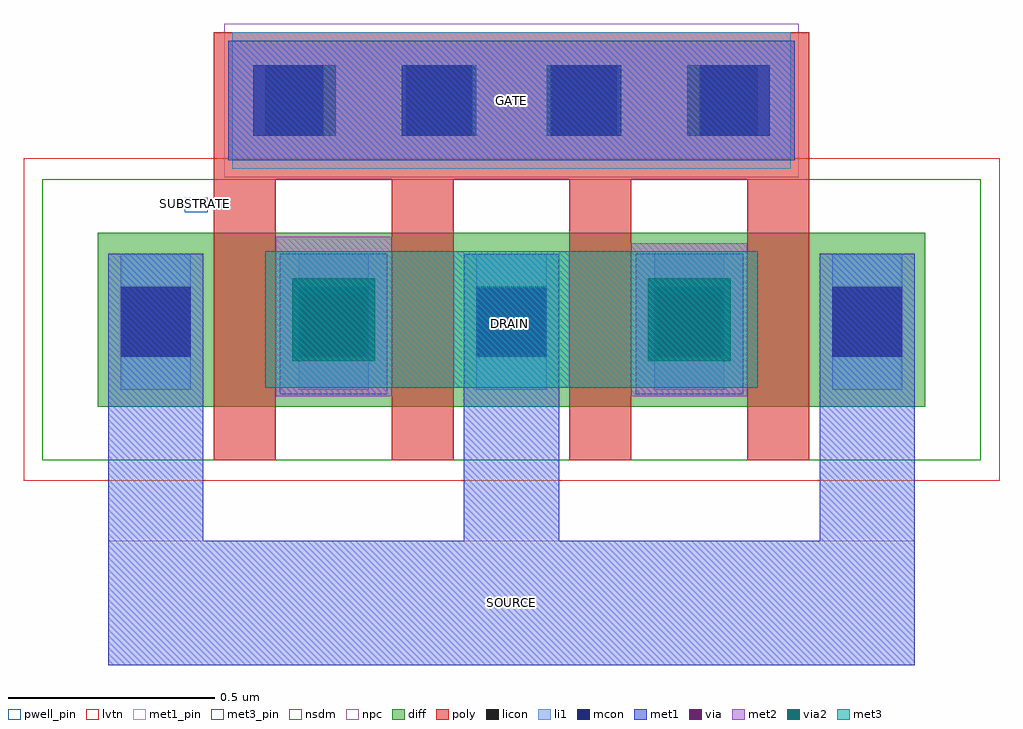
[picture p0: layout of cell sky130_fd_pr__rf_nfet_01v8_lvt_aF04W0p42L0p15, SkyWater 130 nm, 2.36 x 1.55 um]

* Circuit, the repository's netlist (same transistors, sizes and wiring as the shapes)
* Copyright 2020 The SkyWater PDK Authors
*
* Licensed under the Apache License, Version 2.0 (the "License");
* you may not use this file except in compliance with the License.
* You may obtain a copy of the License at
*
*     https://www.apache.org/licenses/LICENSE-2.0
*
* Unless required by applicable law or agreed to in writing, software
* distributed under the License is distributed on an "AS IS" BASIS,
* WITHOUT WARRANTIES OR CONDITIONS OF ANY KIND, either express or implied.
* See the License for the specific language governing permissions and
* limitations under the License.
*
* SPDX-License-Identifier: Apache-2.0


.subckt sky130_fd_pr__rf_nfet_01v8_lvt_aF04W0p42L0p15 DRAIN GATE SOURCE SUBSTRATE
X0 SOURCE GATE DRAIN SUBSTRATE sky130_fd_pr__nfet_01v8_lvt w=420000u l=150000u
X1 DRAIN GATE SOURCE SUBSTRATE sky130_fd_pr__nfet_01v8_lvt w=420000u l=150000u
X2 DRAIN GATE SOURCE SUBSTRATE sky130_fd_pr__nfet_01v8_lvt w=420000u l=150000u
X3 SOURCE GATE DRAIN SUBSTRATE sky130_fd_pr__nfet_01v8_lvt w=420000u l=150000u
.ends

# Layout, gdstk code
import gdstk
lib = gdstk.Library(unit=1e-6, precision=1e-09)
def R(c, l, rs):  # rectangles x0, y0, x1, y1
    for r in rs: c.add(gdstk.rectangle(r[:2], r[2:], *l))
def A(c, l, x, y, w, h, nx, ny, dx, dy):  # array of equal rectangles
    R(c, l, [(x+i*dx, y+j*dy, x+i*dx+w, y+j*dy+h) for i in range(nx) for j in range(ny)])
diff = (65, 20)
poly = (66, 20)
licon = (66, 44)
li1 = (67, 20)
mcon = (67, 44)
met1_pin = (68, 16)
met1 = (68, 20)
via = (68, 44)
met2 = (69, 20)
via2 = (69, 44)
met3_pin = (70, 16)
met3 = (70, 20)
nsdm = (93, 44)
npc = (95, 20)
pwell_pin = (122, 16)
lvtn = (125, 44)

sky130_fd_pr__rf_nfet_01 = lib.new_cell('sky130_fd_pr__rf_nfet_01v8_lvt_aF04W0p42L0p15')
A(sky130_fd_pr__rf_nfet_01, diff, 0.18, 0.18, 0.28, 0.42, 3, 1, 0.43, 0)
A(sky130_fd_pr__rf_nfet_01, diff, 0.21, 0.18, 0.25, 0.42, 3, 1, 0.86, 0)
A(sky130_fd_pr__rf_nfet_01, diff, 0.46, 0.18, 0.15, 0.42, 4, 1, 0.43, 0)
A(sky130_fd_pr__rf_nfet_01, diff, 1.04, 0.18, 0.28, 0.42, 3, 1, 0.43, 0)
R(sky130_fd_pr__rf_nfet_01, diff, [(1.9,0.18,2.18,0.6)])
A(sky130_fd_pr__rf_nfet_01, poly, 0.46, 0.05, 0.15, 0.13, 4, 2, 0.43, 0.55)
A(sky130_fd_pr__rf_nfet_01, poly, 0.46, 0.05, 0.15, 0.68, 4, 1, 0.43, 0)
R(sky130_fd_pr__rf_nfet_01, poly, [(0.46,0.73,1.9,1.085), (0.505,0.755,1.855,1.085)])
A(sky130_fd_pr__rf_nfet_01, licon, 0.235, 0.3, 0.17, 0.17, 5, 1, 0.43, 0)
A(sky130_fd_pr__rf_nfet_01, licon, 0.585, 0.835, 0.17, 0.17, 4, 1, 0.34, 0)
A(sky130_fd_pr__rf_nfet_01, li1, 0.235, 0.22, 0.17, 0.33, 5, 1, 0.43, 0)
R(sky130_fd_pr__rf_nfet_01, li1, [(0.505,0.755,1.855,1.085), (0.555,0.835,1.805,1.005)])
A(sky130_fd_pr__rf_nfet_01, mcon, 0.235, 0.3, 0.17, 0.17, 5, 1, 0.43, 0)
A(sky130_fd_pr__rf_nfet_01, mcon, 0.555, 0.835, 0.17, 0.17, 4, 1, 0.36, 0)
R(sky130_fd_pr__rf_nfet_01, met1_pin, [(0.205,-0.445,2.155,-0.145), (0.495,0.775,1.865,1.065)])
R(sky130_fd_pr__rf_nfet_01, met1, [(0.495,0.775,1.865,1.065)])
R(sky130_fd_pr__rf_nfet_01, via, [(0.675,0.3,0.825,0.45), (1.535,0.3,1.685,0.45)])
R(sky130_fd_pr__rf_nfet_01, met2, [(0.61,0.205,0.89,0.59), (1.47,0.205,1.75,0.575)])
R(sky130_fd_pr__rf_nfet_01, via2, [(0.65,0.29,0.85,0.49), (1.51,0.29,1.71,0.49)])
R(sky130_fd_pr__rf_nfet_01, met3_pin, [(0.585,0.225,1.775,0.555)])
A(sky130_fd_pr__rf_nfet_01, nsdm, 0.21, 0.05, 0.4, 0.68, 4, 1, 0.43, 0)
A(sky130_fd_pr__rf_nfet_01, nsdm, 0.48, 0.05, 0.54, 0.68, 3, 1, 0.43, 0)
R(sky130_fd_pr__rf_nfet_01, nsdm, [(0.045,0.05,0.59,0.73), (1.77,0.05,2.315,0.73)])
R(sky130_fd_pr__rf_nfet_01, npc, [(0.485,0.735,1.875,1.105)])
R(sky130_fd_pr__rf_nfet_01, pwell_pin, [(0.39,0.65,0.445,0.685)])
R(sky130_fd_pr__rf_nfet_01, lvtn, [(0,0,2.36,0.78)])
sky130_fd_pr__rf_nfet_01.add(gdstk.FlexPath([(0.585,0.39),(1.775,0.39)], 0.33, ends="flush", simple_path=True, layer=70, datatype=20))  # met3
sky130_fd_pr__rf_nfet_01.add(gdstk.FlexPath([(2.04,0.55),(2.04,-0.445)], 0.23, ends="flush", simple_path=True, layer=68, datatype=20))  # met1
sky130_fd_pr__rf_nfet_01.add(gdstk.FlexPath([(1.18,0.55),(1.18,-0.445)], 0.23, ends="flush", simple_path=True, layer=68, datatype=20))  # met1
sky130_fd_pr__rf_nfet_01.add(gdstk.FlexPath([(0.32,0.55),(0.32,-0.445)], 0.23, ends="flush", simple_path=True, layer=68, datatype=20))  # met1
sky130_fd_pr__rf_nfet_01.add(gdstk.FlexPath([(0.205,-0.295),(2.155,-0.295)], 0.3, ends="flush", simple_path=True, layer=68, datatype=20))  # met1
sky130_fd_pr__rf_nfet_01.add(gdstk.FlexPath([(0.75,0.55),(0.75,0.21)], 0.26, ends="flush", simple_path=True, layer=68, datatype=20))  # met1
sky130_fd_pr__rf_nfet_01.add(gdstk.FlexPath([(1.61,0.55),(1.61,0.21)], 0.26, ends="flush", simple_path=True, layer=68, datatype=20))  # met1
sky130_fd_pr__rf_nfet_01.add(gdstk.Label('DRAIN', (1.175,0.38), layer=70, texttype=16))
sky130_fd_pr__rf_nfet_01.add(gdstk.Label('SOURCE', (1.18,-0.295), layer=68, texttype=16))
sky130_fd_pr__rf_nfet_01.add(gdstk.Label('GATE', (1.18,0.92), layer=68, texttype=16))
sky130_fd_pr__rf_nfet_01.add(gdstk.Label('SUBSTRATE', (0.415,0.67), layer=64, texttype=59))

lib.write_gds('sky130_fd_pr__rf_nfet_01v8_lvt_aF04W0p42L0p15.gds')
